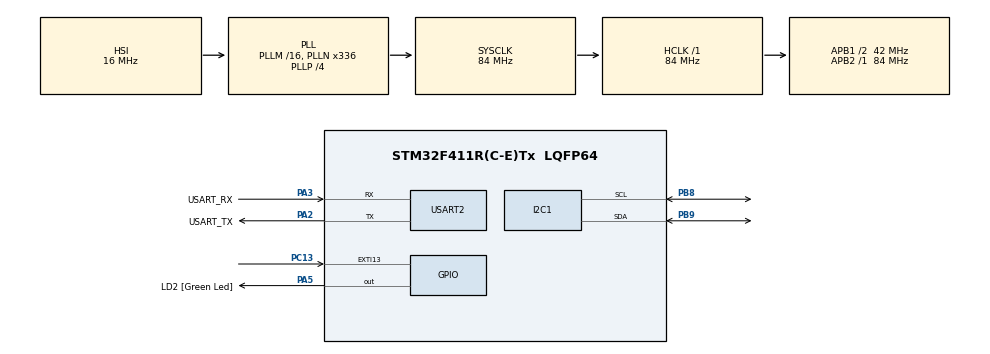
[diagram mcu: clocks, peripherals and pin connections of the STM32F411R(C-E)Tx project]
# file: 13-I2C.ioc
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Mcu.Family=STM32F4
PC15-OSC32_OUT.Mode=LSE-External-Oscillator
RCC.CortexFreq_Value=84000000
NVIC.I2C1_EV_IRQn=true\:0\:0\:false\:false\:true\:true\:true
PA14.GPIO_Label=TCK
PH1\ -\ OSC_OUT.Mode=HSE-External-Clock-Source
RCC.APB1CLKDivider=RCC_HCLK_DIV2
PC14-OSC32_IN.Signal=RCC_OSC32_IN
RCC.SYSCLKSource=RCC_SYSCLKSOURCE_PLLCLK
ProjectManager.StackSize=0x400
PA13.Signal=SYS_JTMS-SWDIO
PA3.Mode=Asynchronous
PH0\ -\ OSC_IN.Mode=HSE-External-Clock-Source
PH0\ -\ OSC_IN.Signal=RCC_OSC_IN
ProjectManager.TargetToolchain=STM32CubeIDE
I2C1.I2C_Mode=I2C_Fast
RCC.HCLKFreq_Value=84000000
PB9.Mode=I2C
RCC.APB2TimFreq_Value=84000000
I2C1.AddressingMode=I2C_ADDRESSINGMODE_7BIT
PC15-OSC32_OUT.Signal=RCC_OSC32_OUT
RCC.AHBFreq_Value=84000000
NVIC.EXTI15_10_IRQn=true\:0\:0\:false\:false\:true\:true\:true
PA5.Signal=GPIO_Output
RCC.HSE_VALUE=8000000
PH1\ -\ OSC_OUT.Signal=RCC_OSC_OUT
board=NUCLEO-F411RE
PC13-ANTI_TAMP.Signal=GPXTI13
RCC.VCOOutputFreq_Value=336000000
RCC.APB2Freq_Value=84000000
PC14-OSC32_IN.Mode=LSE-External-Oscillator
PA14.Mode=Serial_Wire
PA13.Mode=Serial_Wire
NVIC.I2C1_ER_IRQn=true\:0\:0\:false\:false\:true\:true\:true
Mcu.Name=STM32F411R(C-E)Tx
PA2.Signal=USART2_TX
PA13.GPIO_Label=TMS
RCC.FLatency-AdvancedSettings=FLASH_LATENCY_2
RCC.48MHZClocksFreq_Value=84000000
PB3.Signal=SYS_JTDO-SWO
RCC.SYSCLKFreq_VALUE=84000000
Mcu.Package=LQFP64
PB9.Signal=I2C1_SDA
PA5.GPIO_Label=LD2 [Green Led]
USART2.VirtualMode=VM_ASYNC
PC13-ANTI_TAMP.GPIO_ModeDefaultEXTI=GPIO_MODE_IT_FALLING
PA2.GPIO_Label=USART_TX
PA14.Signal=SYS_JTCK-SWCLK
ProjectManager.HeapSize=0x200
RCC.HSI_VALUE=16000000
RCC.PLLP=RCC_PLLP_DIV4
NVIC.PriorityGroup=NVIC_PRIORITYGROUP_0
PB8.Mode=I2C
RCC.PLLN=336
RCC.APB1TimFreq_Value=84000000
PA2.Mode=Asynchronous
PB8.Signal=I2C1_SCL
RCC.APB1Freq_Value=42000000
PA3.GPIO_Label=USART_RX
PA3.Signal=USART2_RX
PB3.GPIO_Label=SWO

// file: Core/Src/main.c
/* USER CODE BEGIN Header */
/**
 ******************************************************************************
 * @file           : main.c
 * @brief          : Main program body
 ******************************************************************************
 * @attention
 *
 * <h2><center>&copy; Copyright (c) 2021 STMicroelectronics.
 * All rights reserved.</center></h2>
 *
 * This software component is licensed by ST under BSD 3-Clause license,
 * the "License"; You may not use this file except in compliance with the
 * License. You may obtain a copy of the License at:
 *                        opensource.org/licenses/BSD-3-Clause
 *
 ******************************************************************************
 */
/* USER CODE END Header */
#include "main.h"

/* USER CODE BEGIN PD */
#define EEPROM_ADDR 0b10100000
#define IOEXPD_ADDR 0b01000000
/* USER CODE END PD */

I2C_HandleTypeDef hi2c1;

UART_HandleTypeDef huart2;

/* USER CODE BEGIN PV */
uint8_t eepromExampleWriteFlag = 0;
uint8_t eepromExampleReadFlag = 1;
uint8_t IOExpdrExampleWriteFlag = 1;
uint8_t IOExpdrExampleReadFlag = 0;
uint8_t eepromDataReadBack[4]={ 1 ,1,1,1};
uint8_t IOExpdrDataReadBack;
uint8_t IOExpdrDataWrite = 0b01010101;
uint64_t timestamp =0;
uint64_t timestamp2 =0;
uint8_t n=0;
uint8_t x=0;

/* USER CODE END PV */

void SystemClock_Config(void);
static void MX_GPIO_Init(void);
static void MX_USART2_UART_Init(void);
static void MX_I2C1_Init(void);
/* USER CODE BEGIN PFP */
void EEPROMWriteExample(uint8_t Wdata);
void EEPROMReadExample(uint8_t *Rdata, uint16_t len);

void IOExpenderInit();
void IOExpenderReadPinA(uint8_t *Rdata);
void IOExpenderWritePinB(uint8_t Wdata);

/* USER CODE END PFP */

int main(void)
{

  /* MCU Configuration--------------------------------------------------------*/

  /* Reset of all peripherals, Initializes the Flash interface and the Systick. */
 HAL_Init();

  /* Configure the system clock */
  SystemClock_Config();

  /* Initialize all configured peripherals */
  MX_GPIO_Init();
  MX_USART2_UART_Init();
  MX_I2C1_Init();
  /* USER CODE BEGIN 2 */
  HAL_Delay(100);
  IOExpenderInit();
  EEPROMReadExample(eepromDataReadBack, 1);
  HAL_Delay(100);
  IOExpenderWritePinB(eepromDataReadBack[0]);
  /* USER CODE END 2 */

  /* Infinite loop */
  /* USER CODE BEGIN WHILE */
	while (1) {
		IOExpenderWritePinB(n);
		if (HAL_GetTick()-timestamp>=30)
		{
			timestamp=HAL_GetTick();
			IOExpdrExampleReadFlag = 1;
			n=*&IOExpdrDataReadBack;
		}
		IOExpenderReadPinA(&IOExpdrDataReadBack);

		 IOExpenderWritePinB(n);
		 if (HAL_GetTick()-timestamp2>=100)
		 {
		 EEPROMReadExample(eepromDataReadBack, 1);
		 }
    /* USER CODE END WHILE */

	}
}

void SystemClock_Config(void)
{
  RCC_OscInitTypeDef RCC_OscInitStruct = {0};
  RCC_ClkInitTypeDef RCC_ClkInitStruct = {0};

  /** Configure the main internal regulator output voltage
  */
  __HAL_RCC_PWR_CLK_ENABLE();
  __HAL_PWR_VOLTAGESCALING_CONFIG(PWR_REGULATOR_VOLTAGE_SCALE1);
  /** Initializes the RCC Oscillators according to the specified parameters
  * in the RCC_OscInitTypeDef structure.
  */
  RCC_OscInitStruct.OscillatorType = RCC_OSCILLATORTYPE_HSI;
  RCC_OscInitStruct.HSIState = RCC_HSI_ON;
  RCC_OscInitStruct.HSICalibrationValue = RCC_HSICALIBRATION_DEFAULT;
  RCC_OscInitStruct.PLL.PLLState = RCC_PLL_ON;
  RCC_OscInitStruct.PLL.PLLSource = RCC_PLLSOURCE_HSI;
  RCC_OscInitStruct.PLL.PLLM = 16;
  RCC_OscInitStruct.PLL.PLLN = 336;
  RCC_OscInitStruct.PLL.PLLP = RCC_PLLP_DIV4;
  RCC_OscInitStruct.PLL.PLLQ = 4;
  if (HAL_RCC_OscConfig(&RCC_OscInitStruct) != HAL_OK)
  {
    Error_Handler();
  }
  /** Initializes the CPU, AHB and APB buses clocks
  */
  RCC_ClkInitStruct.ClockType = RCC_CLOCKTYPE_HCLK|RCC_CLOCKTYPE_SYSCLK
                              |RCC_CLOCKTYPE_PCLK1|RCC_CLOCKTYPE_PCLK2;
  RCC_ClkInitStruct.SYSCLKSource = RCC_SYSCLKSOURCE_PLLCLK;
  RCC_ClkInitStruct.AHBCLKDivider = RCC_SYSCLK_DIV1;
  RCC_ClkInitStruct.APB1CLKDivider = RCC_HCLK_DIV2;
  RCC_ClkInitStruct.APB2CLKDivider = RCC_HCLK_DIV1;

  if (HAL_RCC_ClockConfig(&RCC_ClkInitStruct, FLASH_LATENCY_2) != HAL_OK)
  {
    Error_Handler();
  }
}

static void MX_I2C1_Init(void)
{

  hi2c1.Instance = I2C1;
  hi2c1.Init.ClockSpeed = 400000;
  hi2c1.Init.DutyCycle = I2C_DUTYCYCLE_2;
  hi2c1.Init.OwnAddress1 = 0;
  hi2c1.Init.AddressingMode = I2C_ADDRESSINGMODE_7BIT;
  hi2c1.Init.DualAddressMode = I2C_DUALADDRESS_DISABLE;
  hi2c1.Init.OwnAddress2 = 0;
  hi2c1.Init.GeneralCallMode = I2C_GENERALCALL_DISABLE;
  hi2c1.Init.NoStretchMode = I2C_NOSTRETCH_DISABLE;
  if (HAL_I2C_Init(&hi2c1) != HAL_OK)
  {
    Error_Handler();
  }

}

static void MX_USART2_UART_Init(void)
{

  huart2.Instance = USART2;
  huart2.Init.BaudRate = 115200;
  huart2.Init.WordLength = UART_WORDLENGTH_8B;
  huart2.Init.StopBits = UART_STOPBITS_1;
  huart2.Init.Parity = UART_PARITY_NONE;
  huart2.Init.Mode = UART_MODE_TX_RX;
  huart2.Init.HwFlowCtl = UART_HWCONTROL_NONE;
  huart2.Init.OverSampling = UART_OVERSAMPLING_16;
  if (HAL_UART_Init(&huart2) != HAL_OK)
  {
    Error_Handler();
  }

}

static void MX_GPIO_Init(void)
{
  GPIO_InitTypeDef GPIO_InitStruct = {0};

  /* GPIO Ports Clock Enable */
  __HAL_RCC_GPIOC_CLK_ENABLE();
  __HAL_RCC_GPIOH_CLK_ENABLE();
  __HAL_RCC_GPIOA_CLK_ENABLE();
  __HAL_RCC_GPIOB_CLK_ENABLE();

  /*Configure GPIO pin Output Level */
  HAL_GPIO_WritePin(LD2_GPIO_Port, LD2_Pin, GPIO_PIN_RESET);

  /*Configure GPIO pin : PC13 */
  GPIO_InitStruct.Pin = GPIO_PIN_13;
  GPIO_InitStruct.Mode = GPIO_MODE_IT_FALLING;
  GPIO_InitStruct.Pull = GPIO_NOPULL;
  HAL_GPIO_Init(GPIOC, &GPIO_InitStruct);

  /*Configure GPIO pin : LD2_Pin */
  GPIO_InitStruct.Pin = LD2_Pin;
  GPIO_InitStruct.Mode = GPIO_MODE_OUTPUT_PP;
  GPIO_InitStruct.Pull = GPIO_NOPULL;
  GPIO_InitStruct.Speed = GPIO_SPEED_FREQ_LOW;
  HAL_GPIO_Init(LD2_GPIO_Port, &GPIO_InitStruct);

  /* EXTI interrupt init*/
  HAL_NVIC_SetPriority(EXTI15_10_IRQn, 0, 0);
  HAL_NVIC_EnableIRQ(EXTI15_10_IRQn);

}

/* USER CODE BEGIN 4 */
void HAL_GPIO_EXTI_Callback(uint16_t GPIO_Pin)
{
  if(GPIO_Pin==GPIO_PIN_13)
  {
	  eepromExampleWriteFlag = 1;
	  EEPROMWriteExample(n);
	  IOExpdrExampleWriteFlag = 1;
	  eepromExampleReadFlag = 1;
	  timestamp2=HAL_GetTick();
  }
}
void EEPROMWriteExample(uint8_t Wdata) {
	if (eepromExampleWriteFlag && hi2c1.State == HAL_I2C_STATE_READY) {

		static uint8_t data ;
		data= 0xffff&Wdata;
		HAL_I2C_Mem_Write_IT(&hi2c1, EEPROM_ADDR, 0x36, I2C_MEMADD_SIZE_16BIT, &data, 1);

		eepromExampleWriteFlag = 0;
	}
}
void EEPROMReadExample(uint8_t *Rdata, uint16_t len) {
	if (eepromExampleReadFlag && hi2c1.State == HAL_I2C_STATE_READY) {

		HAL_I2C_Mem_Read_IT(&hi2c1, EEPROM_ADDR, 0x36, I2C_MEMADD_SIZE_16BIT,
				Rdata, len);
		eepromExampleReadFlag = 0;
	}
}
void IOExpenderInit() {
	//Init All
	static uint8_t Setting[0x16] = { 0xFF, 0x00, 0x00, 0x00, 0x00, 0x00, 0x00,
			0x00, 0x00, 0x00, 0x00, 0x00, 0xFF, 0x00, 0x00, 0x00, 0x00, 0x00,
			0x00, 0x00, 0x00, 0x00 };
	HAL_I2C_Mem_Write(&hi2c1, IOEXPD_ADDR, 0x00, I2C_MEMADD_SIZE_8BIT, Setting,
			0x16, 100);
}
void IOExpenderReadPinA(uint8_t *Rdata) {
	if (IOExpdrExampleReadFlag && hi2c1.State == HAL_I2C_STATE_READY) {
		HAL_I2C_Mem_Read_IT(&hi2c1, IOEXPD_ADDR, 0x12, I2C_MEMADD_SIZE_8BIT,
				Rdata, 1);
		IOExpdrExampleReadFlag =0;
	}
}
void IOExpenderWritePinB(uint8_t Wdata) {
	if (IOExpdrExampleWriteFlag && hi2c1.State == HAL_I2C_STATE_READY) {
		static uint8_t data;
		data = Wdata;
		HAL_I2C_Mem_Write_IT(&hi2c1, IOEXPD_ADDR, 0x15, I2C_MEMADD_SIZE_8BIT,
				&data, 1);
		IOExpdrExampleWriteFlag=0;
	}
}
/* USER CODE END 4 */

void Error_Handler(void)
{
	__disable_irq();
	while (1) {
	}
}

/************************ (C) COPYRIGHT STMicroelectronics *****END OF FILE****/
